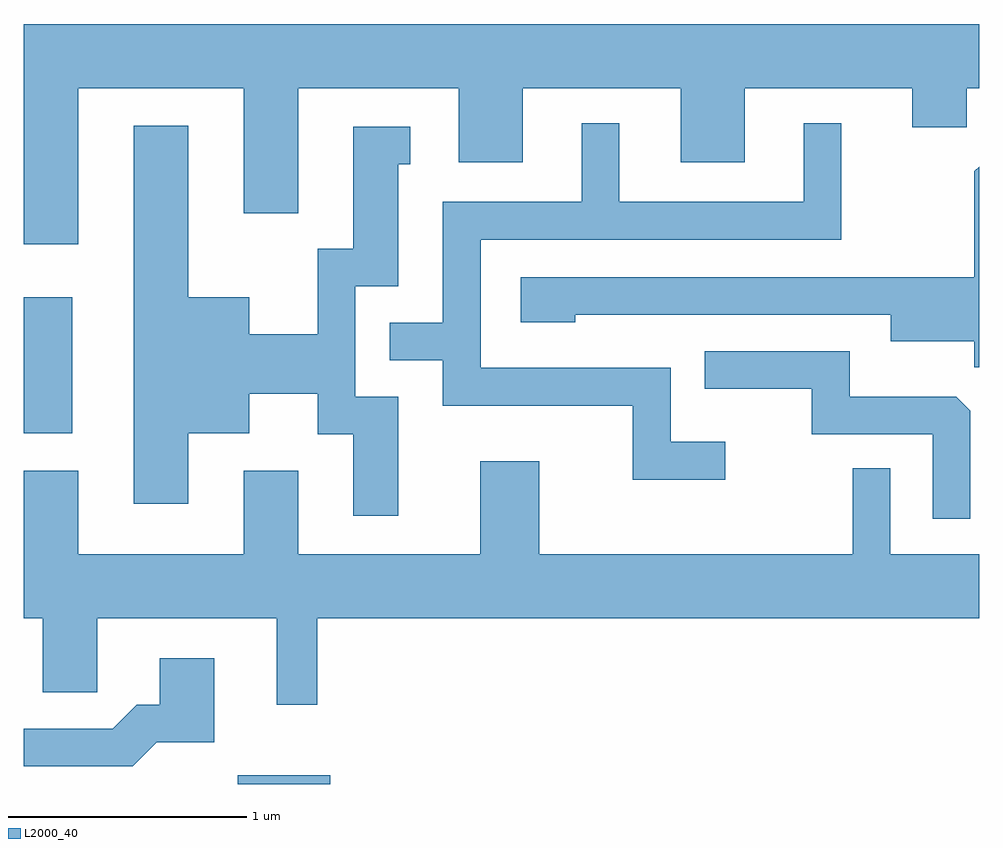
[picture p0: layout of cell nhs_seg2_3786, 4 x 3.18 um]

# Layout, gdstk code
import gdstk
lib = gdstk.Library(unit=1e-6, precision=1e-09)
def R(c, l, rs):  # rectangles x0, y0, x1, y1
    for r in rs: c.add(gdstk.rectangle(r[:2], r[2:], *l))
def P(c, l, *ps):  # polygons
    for p in ps: c.add(gdstk.Polygon(p, *l))
L2000_40 = (2000, 40)

nhs_seg2_3786 = lib.new_cell('nhs_seg2_3786')
R(nhs_seg2_3786, L2000_40, [(296.506,1089.802,296.894,1089.839), (295.611,1091.271,295.814,1091.839)])
P(nhs_seg2_3786, L2000_40, [(295.839,1092.716),(296.531,1092.716),(296.531,1092.191),(296.759,1092.191),(296.759,1092.716),(297.431,1092.716),(297.431,1092.406),(297.699,1092.406),(297.699,1092.716),(298.361,1092.716),(298.361,1092.406),(298.629,1092.406),(298.629,1092.716),(299.331,1092.716),(299.331,1092.551),(299.559,1092.551),(299.559,1092.716),(299.611,1092.716),(299.611,1092.984),(295.611,1092.984),(295.611,1092.061),(295.839,1092.061)],
  [(298.548,1091.234),(298.319,1091.234),(298.319,1091.544),(297.524,1091.544),(297.524,1092.081),(299.034,1092.081),(299.034,1092.568),(298.876,1092.568),(298.876,1092.239),(298.104,1092.239),(298.104,1092.568),(297.946,1092.568),(297.946,1092.239),(297.366,1092.239),(297.366,1091.734),(297.143,1091.734),(297.143,1091.576),(297.366,1091.576),(297.366,1091.386),(298.161,1091.386),(298.161,1091.076),(298.548,1091.076)],
  [(297.179,1091.424),(296.999,1091.424),(296.999,1091.886),(297.179,1091.886),(297.179,1092.396),(297.228,1092.396),(297.228,1092.554),(296.991,1092.554),(296.991,1092.044),(296.841,1092.044),(296.841,1091.684),(296.554,1091.684),(296.554,1091.839),(296.299,1091.839),(296.299,1092.559),(296.071,1092.559),(296.071,1090.976),(296.299,1090.976),(296.299,1091.271),(296.554,1091.271),(296.554,1091.436),(296.841,1091.436),(296.841,1091.266),(296.991,1091.266),(296.991,1090.926),(297.179,1090.926)],
  [(299.611,1092.387),(299.591,1092.367),(299.591,1091.924),(297.691,1091.924),(297.691,1091.736),(297.919,1091.736),(297.919,1091.766),(299.241,1091.766),(299.241,1091.656),(299.591,1091.656),(299.591,1091.546),(299.611,1091.546)],
  [(299.574,1091.364),(299.514,1091.424),(299.069,1091.424),(299.069,1091.614),(298.463,1091.614),(298.463,1091.456),(298.911,1091.456),(298.911,1091.266),(299.416,1091.266),(299.416,1090.913),(299.574,1090.913)],
  [(296.839,1090.496),(299.611,1090.496),(299.611,1090.764),(299.239,1090.764),(299.239,1091.123),(299.081,1091.123),(299.081,1090.764),(297.769,1090.764),(297.769,1091.154),(297.521,1091.154),(297.521,1090.764),(296.759,1090.764),(296.759,1091.114),(296.531,1091.114),(296.531,1090.764),(295.839,1090.764),(295.839,1091.114),(295.611,1091.114),(295.611,1090.496),(295.691,1090.496),(295.691,1090.186),(295.919,1090.186),(295.919,1090.496),(296.671,1090.496),(296.671,1090.133),(296.839,1090.133)],
  [(296.167,1089.976),(296.409,1089.976),(296.409,1090.329),(296.181,1090.329),(296.181,1090.134),(296.084,1090.134),(295.984,1090.034),(295.611,1090.034),(295.611,1089.876),(296.067,1089.876)])

lib.write_gds('nhs_seg2_3786.gds')
